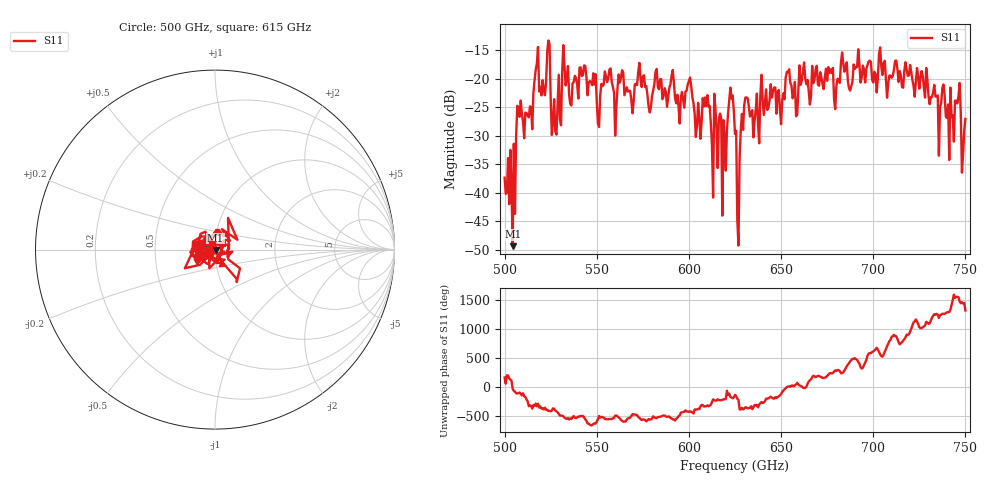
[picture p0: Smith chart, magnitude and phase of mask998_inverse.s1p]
!Created with skrf (http://scikit-rf.org).
# GHz S MA R 50.0
!freq magS11 angS11
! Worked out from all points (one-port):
!   401 points, 500 GHz to 750 GHz, reference 50 ohm
!   lowest |S11| = -49.4 dB at 504.4 GHz (marker M1), VSWR 1.01, Z = 50.3 - j0.185 ohm
!   |S11| at or under -10 dB: start of sweep to end of sweep
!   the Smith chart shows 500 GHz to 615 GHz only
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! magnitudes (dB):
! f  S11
! 500 GHz  -37.4
! 504.4 GHz  -49.4
! 507.5 GHz  -25.0
! 513.8 GHz  -24.8
! 516.9 GHz  -18.4
! 520.6 GHz  -20.2
! 523.8 GHz  -13.2
! 526.9 GHz  -23.6
! 531.2 GHz  -18.6
! 542.5 GHz  -19.3
! 551.2 GHz  -28.5
! 562.5 GHz  -20.7
! 593.8 GHz  -22.8
! 610 GHz  -22.8
! 611.9 GHz  -27.8
! 619.4 GHz  -30.2
! 623.1 GHz  -23.5
! 625 GHz  -29.7
! 626.9 GHz  -49.3
! 631.2 GHz  -23.3
! 656.2 GHz  -23.4
! 680 GHz  -21.3
! 683.8 GHz  -17.3
! 687.5 GHz  -22.1
! 718.8 GHz  -19.5
! 742.5 GHz  -26.7
! 745.6 GHz  -24.3
! 750 GHz  -27.0
